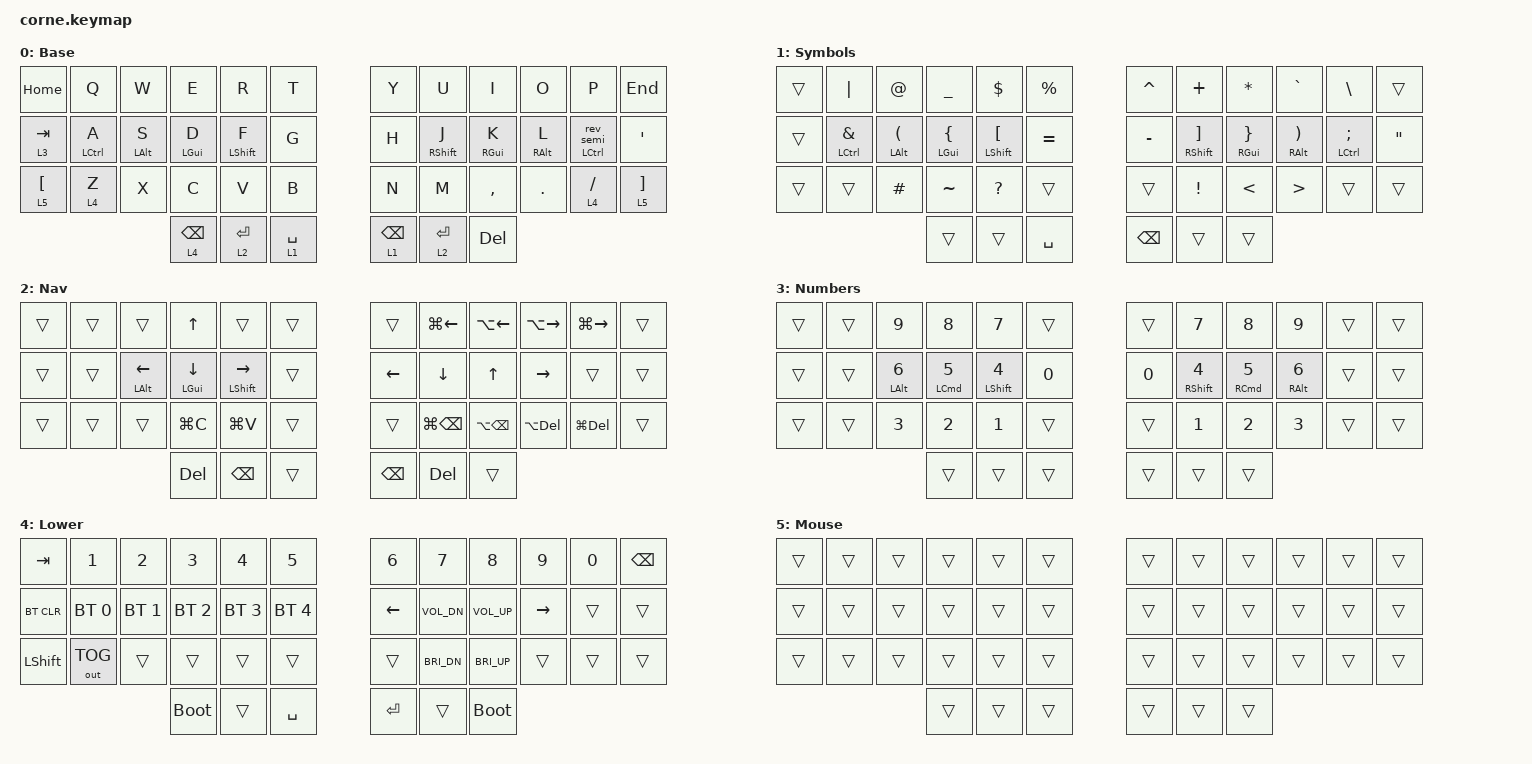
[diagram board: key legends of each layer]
/*
 * Copyright (c) 2020 The ZMK Contributors
 *
 * SPDX-License-Identifier: MIT
 */

#include <behaviors.dtsi>
#include <dt-bindings/zmk/bt.h>
#include <dt-bindings/zmk/keys.h>
#include <dt-bindings/zmk/outputs.h>

/ {
    combos {
        compatible = "zmk,combos";

        fj_combo {
            bindings = <&caps_word>;
            key-positions = <16 19>;
        };

        jk_combo {
            bindings = <&hmr RS(RGUI) ESC>;
            key-positions = <19 20>;
            layers = <0>;
        };

        df_combo {
            bindings = <&hml LS(LGUI) ESC>;
            key-positions = <15 16>;
            layers = <0>;
        };

        jk_combo_symbs {
            bindings = <&hmr RS(RGUI) BSPC>;
            key-positions = <19 20>;
            layers = <1>;
        };

        df_combo_symbs {
            bindings = <&hml LS(LGUI) SPACE>;
            key-positions = <15 16>;
            layers = <1>;
        };
    };

    behaviors {
        hml: hml {
            compatible = "zmk,behavior-hold-tap";
            label = "HML";
            bindings = <&kp>, <&kp>;

            #binding-cells = <2>;
            tapping-term-ms = <200>;
            quick-tap-ms = <175>;
            require-prior-idle-ms = <100>;
            flavor = "balanced";
            hold-trigger-on-release;
            hold-trigger-key-positions = <36 37 38 39 40 41 6 7 8 9 10 11 18 19 20 21 22 23 30 31 32 33 34 35>;
        };

        hmr: hmr {
            compatible = "zmk,behavior-hold-tap";
            label = "HMR";
            bindings = <&kp>, <&kp>;

            #binding-cells = <2>;
            tapping-term-ms = <200>;
            quick-tap-ms = <175>;
            require-prior-idle-ms = <100>;
            flavor = "balanced";
            hold-trigger-on-release;
            hold-trigger-key-positions = <36 37 38 39 40 41 0 1 2 3 4 5 12 13 14 15 16 17 24 25 26 27 28 29>;
        };

        rev_semi: rev_semi {
            compatible = "zmk,behavior-mod-morph";
            label = "REV_SEMI";
            bindings = <&kp COLON>, <&kp SEMI>;

            #binding-cells = <0>;
            mods = <(MOD_LSFT|MOD_RSFT)>;
        };

        hmr_semi: hmr_semi {
            compatible = "zmk,behavior-hold-tap";
            label = "HMR_SEMI";
            bindings = <&kp>, <&rev_semi>;

            #binding-cells = <2>;
            tapping-term-ms = <200>;
            quick-tap-ms = <175>;
            require-prior-idle-ms = <100>;
            flavor = "balanced";
            hold-trigger-on-release;
            hold-trigger-key-positions = <36 37 38 39 40 41 0 1 2 3 4 5 12 13 14 15 16 17 24 25 26 27 28 29>;
        };
    };

    keymap {
        compatible = "zmk,keymap";

        default_layer {
            // -----------------------------------------------------------------------------------------
            // |  TAB |  Q  |  W  |  E  |  R  |  T  |   |  Y  |  U   |  I  |  O  |  P  | BKSP |
            // | CTRL |  A  |  S  |  D  |  F  |  G  |   |  H  |  J   |  K  |  L  |  ;  |  '   |
            // | SHFT |  Z  |  X  |  C  |  V  |  B  |   |  N  |  M   |  ,  |  .  |  /  | ESC  |
            //                    | GUI | LWR | SPC |   | ENT | RSE  | ALT |

            display-name = "Base";
            bindings = <
&kp HOME    &kp Q         &kp W        &kp E        &kp R         &kp T          &kp Y       &kp U         &kp I        &kp O        &kp P              &kp END
&lt 3 TAB   &hml LCTRL A  &hml LALT S  &hml LGUI D  &hml LSHFT F  &kp G          &kp H       &hmr RSHFT J  &hmr RGUI K  &hmr RALT L  &hmr_semi LCTRL 0  &kp SQT
&lt 5 LBKT  &lt 4 Z       &kp X        &kp C        &kp V         &kp B          &kp N       &kp M         &kp COMMA    &kp DOT      &lt 4 SLASH        &lt 5 RBKT
                                       &lt 4 BSPC   &lt 2 RET     &lt 1 SPACE    &lt 1 BSPC  &lt 2 RET     &kp DEL
            >;
        };

        symbols_layer {
            // -----------------------------------------------------------------------------------------
            // |  TAB |  !  |  @  |  #  |  $  |  %  |   |  ^  |  &  |  *  |  (  |  )  | BKSP |
            // | CTRL |     |     |     |     |     |   |  -  |  =  |  [  |  ]  |  \  |  `   |
            // | SHFT |     |     |     |     |     |   |  _  |  +  |  {  |  }  | "|" |  ~   |
            //                    | GUI |     | SPC |   | ENT |     | ALT |

            display-name = "Symbols";
            bindings = <
&trans  &kp PIPE         &kp AT          &kp UNDER       &kp DLLR         &kp PRCNT    &kp CARET  &kp PLUS         &kp ASTERISK    &kp GRAVE       &kp BACKSLASH    &trans
&trans  &hml LCTRL AMPS  &hml LALT LPAR  &hml LGUI LBRC  &hml LSHFT LBKT  &kp EQUAL    &kp MINUS  &hmr RSHFT RBKT  &hmr RGUI RBRC  &hmr RALT RPAR  &hmr LCTRL SEMI  &kp DQT
&trans  &trans           &kp HASH        &kp TILDE       &kp QMARK        &trans       &trans     &kp EXCL         &kp LT          &kp GT          &trans           &trans
                                         &trans          &trans           &kp SPACE    &kp BSPC   &trans           &trans
            >;
        };

        nav_layer {
            bindings = <
&trans  &trans  &trans          &kp UP          &trans            &trans    &trans    &kp LG(LEFT)  &kp LA(LEFT)  &kp LA(RIGHT)  &kp LG(RIGHT)  &trans
&trans  &trans  &hml LALT LEFT  &hml LGUI DOWN  &hml LSHFT RIGHT  &trans    &kp LEFT  &kp DOWN      &kp UP        &kp RIGHT      &trans         &trans
&trans  &trans  &trans          &kp LG(C)       &kp LG(V)         &trans    &trans    &kp LG(BSPC)  &kp LA(BSPC)  &kp LA(DEL)    &kp LG(DEL)    &trans
                                &kp DEL         &kp BSPC          &trans    &kp BSPC  &kp DEL       &trans
            >;

            label = "Nav";
        };

        nums_layer {
            bindings = <
&trans  &trans  &kp N9        &kp N8        &kp N7         &trans    &trans  &kp N7         &kp N8        &kp N9        &trans  &trans
&trans  &trans  &hml LALT N6  &hml LCMD N5  &hml LSHFT N4  &kp N0    &kp N0  &hmr RSHFT N4  &hmr RCMD N5  &hmr RALT N6  &trans  &trans
&trans  &trans  &kp N3        &kp N2        &kp N1         &trans    &trans  &kp N1         &kp N2        &kp N3        &trans  &trans
                              &trans        &trans         &trans    &trans  &trans         &trans
            >;

            label = "Numbers";
        };

        magic_layer {
            // -----------------------------------------------------------------------------------------
            // |  TAB |  1  |  2  |  3  |  4  |  5  |   |  6  |  7  |  8  |  9  |  0  | BKSP |
            // | BTCLR| BT1 | BT2 | BT3 | BT4 | BT5 |   | LFT | DWN |  UP | RGT |     |      |
            // | SHFT |     |     |     |     |     |   |     |     |     |     |     |      |
            //                    | GUI |     | SPC |   | ENT |     | ALT |

            display-name = "Lower";
            bindings = <
&kp TAB     &kp N1        &kp N2        &kp N3        &kp N4        &kp N5          &kp N6    &kp N7        &kp N8           &kp N9     &kp N0  &kp BSPC
&bt BT_CLR  &bt BT_SEL 0  &bt BT_SEL 1  &bt BT_SEL 2  &bt BT_SEL 3  &bt BT_SEL 4    &kp LEFT  &kp C_VOL_DN  &kp C_VOLUME_UP  &kp RIGHT  &trans  &trans
&kp LSHFT   &out OUT_TOG  &trans        &trans        &trans        &trans          &trans    &kp C_BRI_DN  &kp C_BRI_UP     &trans     &trans  &trans
                                        &bootloader   &trans        &kp SPACE       &kp RET   &trans        &bootloader
            >;

            label = "Magic";
        };

        mouse_layer {
            bindings = <
&trans  &trans  &trans  &trans  &trans  &trans    &trans  &trans  &trans  &trans  &trans  &trans
&trans  &trans  &trans  &trans  &trans  &trans    &trans  &trans  &trans  &trans  &trans  &trans
&trans  &trans  &trans  &trans  &trans  &trans    &trans  &trans  &trans  &trans  &trans  &trans
                        &trans  &trans  &trans    &trans  &trans  &trans
            >;

            label = "Mouse";
        };
    };
};
